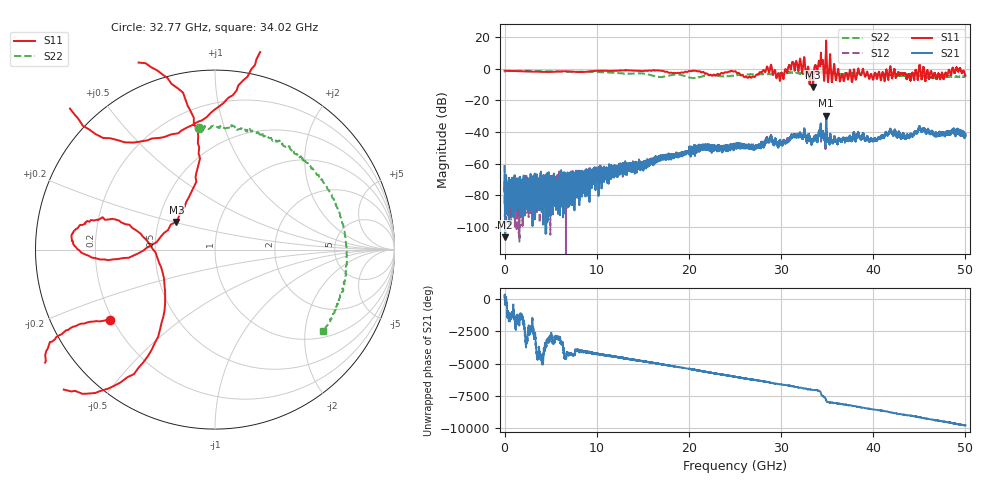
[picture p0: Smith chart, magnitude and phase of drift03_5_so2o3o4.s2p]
!Created with skrf (http://scikit-rf.org).
# Hz S RI R 50.0
!freq ReS11 ImS11 ReS21 ImS21 ReS12 ImS12 ReS22 ImS22
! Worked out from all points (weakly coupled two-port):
!   10001 points, 300 kHz to 50 GHz, reference 50 ohm
!   highest |S21| = -29.68 dB at 34.9 GHz (marker M1); lowest = -106.6 dB at 65.3 MHz (marker M2)
!   lowest |S11| = -11.6 dB at 33.47 GHz (marker M3), VSWR 1.72, Z = 31 + j10.3 ohm
!   |S11| at or under -10 dB: 33.08954 GHz to 33.09059 GHz (1.055 MHz wide, 0.00319 % of centre); 33.44335 GHz to 33.48732 GHz (43.98 MHz wide, 0.131 % of centre)
!   |S22| runs from -5.9 to -1.3 dB; largest |S21 - S12| = 0.0087
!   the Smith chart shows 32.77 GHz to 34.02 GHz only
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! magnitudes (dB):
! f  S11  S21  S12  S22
! 300 kHz  -1.3  -62.3  -60.9  -2.1
! 65.3 MHz  -1.3  -106.6  -72.8  -1.6
! 255.3 MHz  -1.3  -76.8  -77.1  -1.4
! 465.3 MHz  -1.4  -80.1  -87.7  -1.5
! 8.335 GHz  -2.2  -67.7  -71.7  -1.9
! 16.67 GHz  -1.1  -56.7  -56.4  -5.2
! 25 GHz  -1.6  -49.9  -48.4  -4.3
! 26.92 GHz  -4.9  -50.8  -50.4  -3.6
! 28.73 GHz  -2.3  -45.1  -45.2  -3.5
! 30.06 GHz  -2.5  -47.2  -47.9  -2.8
! 31.87 GHz  -1.7  -42.4  -42.2  -2.9
! 33.34 GHz  -2.2  -47.9  -47.5  -2.9
! 33.47 GHz  -11.6  -45.2  -44.8  -2.8
! 34.3 GHz  7.3  -35.6  -35.3  -2.3
! 34.9 GHz  17.8  -29.7  -31.2  -2.4
! 36.6 GHz  -3.7  -46.2  -45.9  -3.6
! 40.17 GHz  -2.7  -44.3  -44.0  -3.7
! 41.67 GHz  -6.0  -41.2  -41.0  -3.7
! 45.23 GHz  -6.5  -39.3  -38.7  -4.6
! 47.07 GHz  -3.0  -41.8  -41.4  -5.1
! 49.22 GHz  -1.9  -39.6  -40.6  -5.1
! 50 GHz  -4.4  -41.3  -42.3  -5.0
